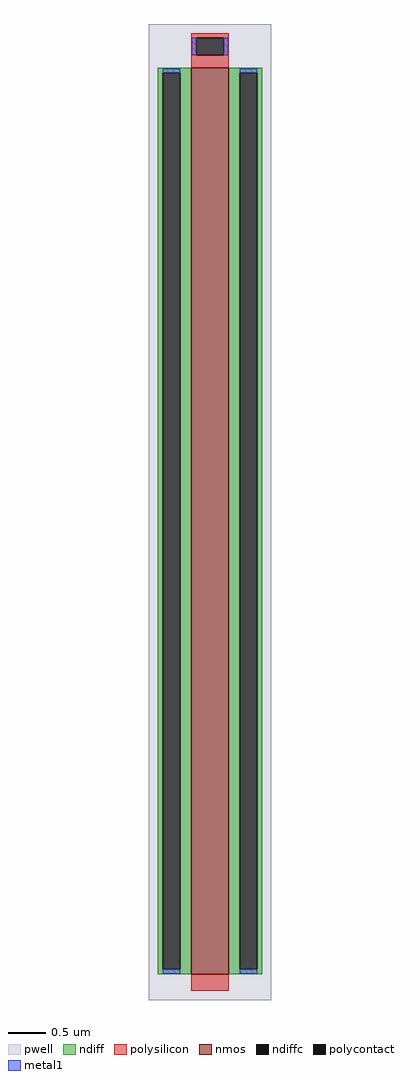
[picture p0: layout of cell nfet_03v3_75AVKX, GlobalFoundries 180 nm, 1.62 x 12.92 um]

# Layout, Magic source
magic
tech gf180mcuD
magscale 1 10
<< pwell >>
rect -162 -1292 162 1292
<< nmos >>
rect -50 -1224 50 1176
<< ndiff >>
rect -138 1163 -50 1176
rect -138 -1211 -125 1163
rect -79 -1211 -50 1163
rect -138 -1224 -50 -1211
rect 50 1163 138 1176
rect 50 -1211 79 1163
rect 125 -1211 138 1163
rect 50 -1224 138 -1211
<< ndiffc >>
rect -125 -1211 -79 1163
rect 79 -1211 125 1163
<< polysilicon >>
rect -50 1255 50 1268
rect -50 1209 -37 1255
rect 37 1209 50 1255
rect -50 1176 50 1209
rect -50 -1268 50 -1224
<< polycontact >>
rect -37 1209 37 1255
<< metal1 >>
rect -48 1209 -37 1255
rect 37 1209 48 1255
rect -125 1163 -79 1174
rect -125 -1222 -79 -1211
rect 79 1163 125 1174
rect 79 -1222 125 -1211
<< properties >>
string gencell nfet_03v3
string library gf180mcu
string parameters w 12 l 0.5 m 1 nf 1 diffcov 100 polycov 100 guard 0 glc 0 grc 0 gtc 0 gbc 0 tbcov 100 rlcov 100 topc 1 botc 0 poverlap 0 doverlap 1 lmin 0.28 wmin 0.22 class mosfet full_metal 0 compatible {nfet_03v3 nfet_05v0 nfet_06v0 nfet_06v0_nvt}
<< end >>
